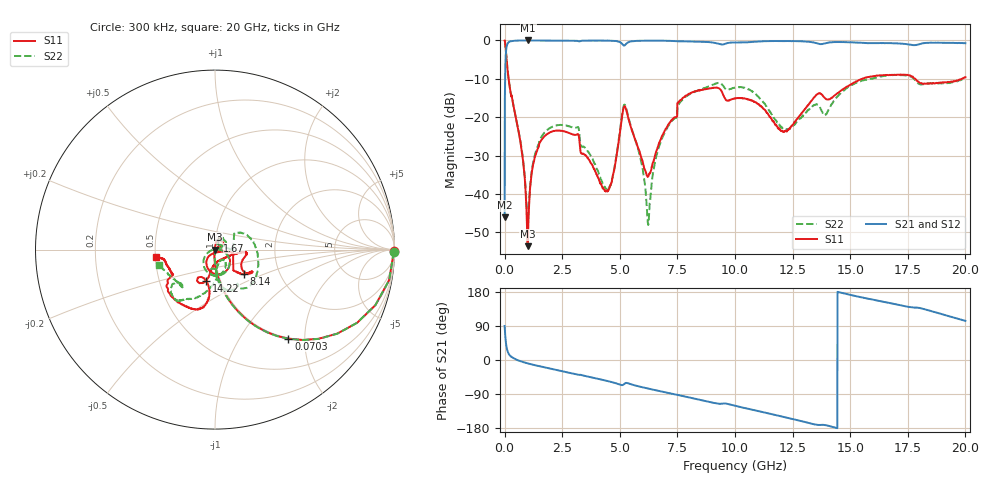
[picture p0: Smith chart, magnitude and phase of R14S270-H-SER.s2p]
!{R14S270}
!Johanson Technology Inc.
!www.johansontechnology.com
!Test Board Conditions:
!Substrate Type  RO4350B
!Substrate Thickness  20 mil
!Substrate Dk  3.66
!TL Type: GCPW
!TL Trace Width  36 mil
!TL Gap  12 mil
!Electrode orientation  Horizontal
!DUT TOPOLOGY	SERIES
!Mounting Pad LxW  26x36 mil
! Created Wed Nov 25 17:33:21 2020
! 2 Port Network Data from SP1.SP block
! freq  magS11  angS11  magS21  angS21  magS12  angS12  magS22  angS22
# khz S ma R 50
! decimated to every 10th point (10 MHz spacing) of the original 1 MHz Johanson file; values unchanged
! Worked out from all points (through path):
!   2001 points, 300 kHz to 20 GHz, reference 50 ohm
!   highest |S21| = 0.00 dB at 1.02 GHz (marker M1); lowest = -46.0 dB at 300 kHz (marker M2)
!   group delay of S21, straight-line fit = 35.7 ps
!   lowest |S11| = -53.6 dB at 1 GHz (marker M3), VSWR 1.00, Z = 49.8 + j0.0492 ohm
!   |S11| at or under -10 dB: 173.2 MHz to 15.52 GHz (15.34 GHz wide, 196 % of centre); 17.82 GHz to 19.84 GHz (2.016 GHz wide, 10.7 % of centre)
!   |S22| runs from -49.6 to 0.0 dB; largest |S21 - S12| = 0.02
!   S11 on the Smith chart (normalised r, x): 300 kHz: open; 70.3 MHz: 0.99, -1.67; 1.67 GHz: 1.03, +0.11; 8.14 GHz: 1.32, -0.38; 14.22 GHz: 0.86, -0.31; 20 GHz: 0.50, -0.05
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300  0.9967 -0.5  0.004999 89.9  0.005065 89.9  0.9962 -0.7
70300  0.6431 -50.5  0.7626 39.4  0.7636 39.3  0.6443 -50.5
110300  0.4694 -62.8  0.8803 27.1  0.881 27.0  0.4714 -62.8
170300  0.3212 -72.6  0.9445 17.2  0.945 17.1  0.3231 -72.5
730300  0.03916 -94.6  0.9979 -4.1  0.9984 -4.1  0.04047 -91.4
1000300  0.002092 166.3  0.9993 -8.9  0.999 -8.8  0.003304 -10.3
1020300  0.003201 115.2  0.9994 -9.2  0.9983 -9.2  0.004351 22.6
1260300  0.02549 83.9  0.9978 -12.9  0.9979 -12.9  0.02724 65.0
1670300  0.05361 73.2  0.9953 -18.7  0.9953 -18.7  0.05961 67.7
3340300  0.03362 40.1  0.9904 -39.8  0.99 -39.8  0.04145 38.3
4500300  0.01113 9.3  0.9948 -56.0  0.994 -56.0  0.01133 16.4
5240300  0.1355 -89.6  0.878 -60.9  0.878 -60.9  0.1417 -97.3
5900300  0.03185 -126.5  0.9892 -70.7  0.9896 -70.7  0.02905 -163.6
6230300  0.01722 -75.1  0.9922 -75.4  0.9918 -75.4  0.003944 116.8
6670300  0.04281 -15.4  0.9925 -81.3  0.9911 -81.3  0.03835 16.4
8140300  0.2104 -40.7  0.9671 -100.5  0.9671 -100.5  0.2074 17.8
1.00003e7  0.1753 -9.8  0.9398 -120.8  0.9388 -120.9  0.2439 -60.8
1.20803e7  0.06522 -58.5  0.9806 -149.6  0.9841 -149.5  0.07082 -67.5
1.33403e7  0.1665 -104.5  0.9483 -168.4  0.9512 -168.4  0.1356 -73.3
1.42203e7  0.1808 -105.6  0.9502 -176.4  0.9523 -176.3  0.1504 -86.1
1.66703e7  0.353 -114.1  0.924 150.8  0.9151 150.7  0.3544 -125.7
2e7  0.3318 -172.5  0.9188 103.3  0.9173 103.7  0.3218 -164.5
